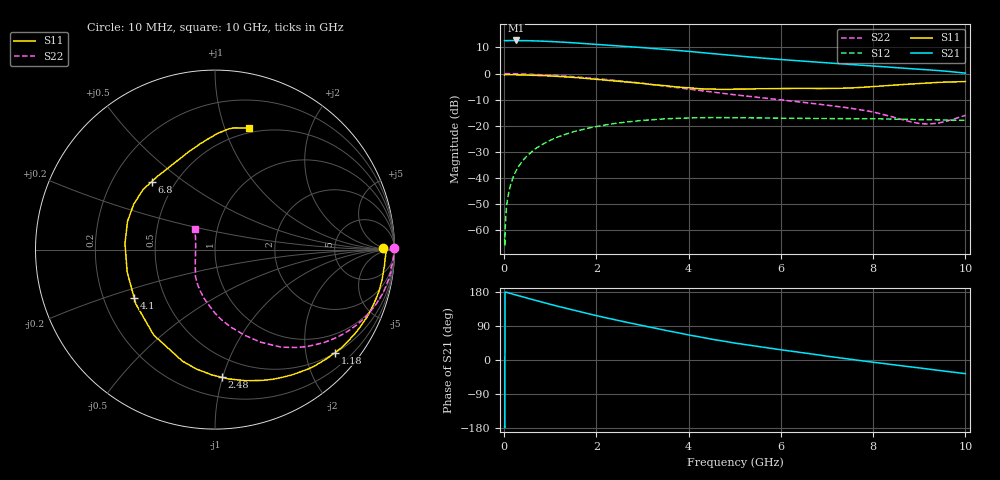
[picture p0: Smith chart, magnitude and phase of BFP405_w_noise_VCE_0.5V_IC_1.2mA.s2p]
! Infineon Technologies  Discrete & RF Semiconductors
! BFP405
! VCE =  0.5 V,  IC =  1.2 mA
! Common Emitter S-Parameters:  Jan 2016
# GHz  S  MA  R  50
!  f  S11  S21  S12  S22
! GHz  MAG  ANG  MAG  ANG  MAG  ANG  MAG  ANG
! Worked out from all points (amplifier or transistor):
!   233 points, 10 MHz to 10 GHz, reference 50 ohm
!   highest |S21| = 12.6 dB at 260 MHz (marker M1)
!   |S21| within 3 dB of that: start of sweep to 3.171 GHz
!   unconditionally stable (mu >= 1): 4.843 GHz to end of sweep
!   at 200 MHz: K = 0.02, MSG = 26.1 dB, |S12| = -39.5 dB
!   at 1.74 GHz: K = 0.28, MSG = 16.3 dB, |S12| = -21.2 dB
!   at 10 GHz: K = 1.95, MAG = 3.4 dB, |S12| = -17.9 dB
!   lowest NFmin = 0.75 dB at 900 MHz
!   S11 on the Smith chart (normalised r, x): 10 MHz: 29, +4; 1.18 GHz: 0.51, -2.62; 2.48 GHz: 0.34, -0.99; 4.1 GHz: 0.33, -0.25; 6.8 GHz: 0.37, +0.38; 10 GHz: 0.45, +1.21
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0.01  0.9337 0.5  4.28 -176.8  0.0007 -3.1  1 0.6
0.015  0.9438 -0.0  4.26 -178.7  0.0005 52.3  0.9965 0.3
0.02  0.954 -0.5  4.245 179.3  0.0009 92.1  0.9931 0.0
0.04  0.9522 -1.5  4.243 179.0  0.0022 90.8  0.9945 -0.5
0.08  0.9497 -2.8  4.262 177.5  0.0043 88.5  0.9956 -1.6
0.155  0.9488 -5.2  4.27 175.1  0.0082 86.9  0.9934 -3.4
0.26  0.9453 -8.8  4.29 171.4  0.0139 84.7  0.9859 -5.8
0.48  0.9389 -16.3  4.251 164.0  0.0257 80.3  0.979 -10.5
0.78  0.9195 -26.8  4.174 154.2  0.0417 73.6  0.9554 -17.0
1.18  0.8814 -40.6  4.025 141.3  0.0619 64.8  0.9115 -25.2
1.68  0.82 -58.1  3.786 126.3  0.0846 54.0  0.8447 -34.7
2  0.7774 -69.6  3.62 117.1  0.0972 47.4  0.7996 -40.3
2.48  0.7125 -87.0  3.375 104.2  0.1132 38.0  0.7288 -48.1
3  0.6473 -106.3  3.132 90.7  0.1272 28.3  0.6514 -56.3
3.4  0.5923 -121.5  2.934 80.8  0.1344 21.1  0.5891 -62.1
4.1  0.524 -149.3  2.602 64.0  0.1421 9.9  0.4915 -72.3
4.5  0.505 -165.7  2.422 54.9  0.1441 4.1  0.4433 -78.1
5.1  0.5022 173.4  2.159 43.0  0.1434 -3.2  0.3837 -85.8
6.8  0.5175 133.1  1.648 13.7  0.1381 -17.3  0.2607 -106.0
8.4  0.5959 97.8  1.313 -12.0  0.1347 -28.1  0.1497 -137.2
9.2  0.6603 86.3  1.174 -24.0  0.1308 -32.0  0.1081 177.7
10  0.7023 74.5  1.019 -36.1  0.1275 -34.8  0.1585 134.7
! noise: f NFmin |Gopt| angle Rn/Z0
0.9  0.75  0.69  15  0.52
1.8  1.17  0.55  31  0.46
2.4  1.43  0.45  42  0.42
3  1.52  0.46  56  0.39
4  1.76  0.33  84  0.29
5  2.09  0.3  121  0.2
